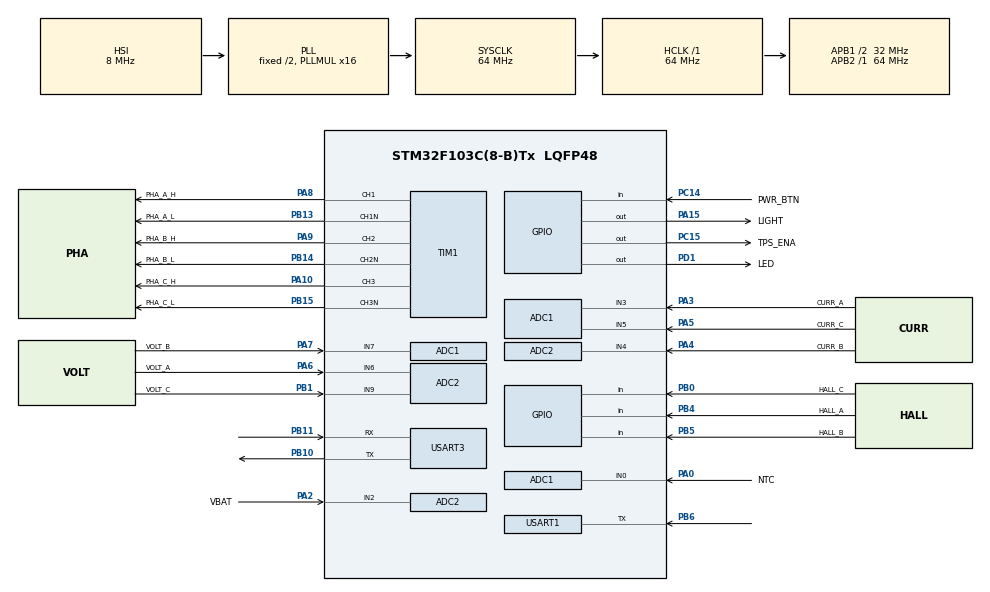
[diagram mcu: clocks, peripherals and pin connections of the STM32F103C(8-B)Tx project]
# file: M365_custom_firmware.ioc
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ADC1.Channel-10\#ChannelRegularConversion=ADC_CHANNEL_3
ADC1.Channel-11\#ChannelRegularConversion=ADC_CHANNEL_5
ADC1.Channel-12\#ChannelRegularConversion=ADC_CHANNEL_7
ADC1.Channel-13\#ChannelRegularConversion=ADC_CHANNEL_0
ADC1.ContinuousConvMode=DISABLE
ADC1.DiscontinuousConvMode=DISABLE
ADC1.EnableAnalogWatchDog=false
ADC1.EnableInjectedConversion=DISABLE
ADC1.EnableRegularConversion=ENABLE
ADC1.ExternalTrigConv=ADC_EXTERNALTRIGCONV_T3_TRGO
ADC1.ExternalTrigInjecConv=ADC_EXTERNALTRIGINJECCONV_T1_TRGO
ADC1.InjNumberOfConversion=4
ADC1.Mode=ADC_DUALMODE_REGSIMULT
ADC1.NbrOfConversion=4
ADC1.NbrOfConversionFlag=1
ADC1.Rank-10\#ChannelRegularConversion=1
ADC1.Rank-11\#ChannelRegularConversion=2
ADC1.Rank-12\#ChannelRegularConversion=3
ADC1.Rank-13\#ChannelRegularConversion=4
ADC1.SamplingTime-10\#ChannelRegularConversion=ADC_SAMPLETIME_1CYCLE_5
ADC1.SamplingTime-11\#ChannelRegularConversion=ADC_SAMPLETIME_1CYCLE_5
ADC1.SamplingTime-12\#ChannelRegularConversion=ADC_SAMPLETIME_1CYCLE_5
ADC1.SamplingTime-13\#ChannelRegularConversion=ADC_SAMPLETIME_1CYCLE_5
ADC1.master=1
ADC2.Channel-6\#ChannelRegularConversion=ADC_CHANNEL_4
ADC2.Channel-7\#ChannelRegularConversion=ADC_CHANNEL_6
ADC2.Channel-8\#ChannelRegularConversion=ADC_CHANNEL_9
ADC2.Channel-9\#ChannelRegularConversion=ADC_CHANNEL_2
ADC2.EnableAnalogWatchDog=false
ADC2.EnableInjectedConversion=DISABLE
ADC2.EnableRegularConversion=ENABLE
ADC2.InjNumberOfConversion=4
ADC2.Mode=ADC_DUALMODE_REGSIMULT
ADC2.NbrOfConversion=4
ADC2.NbrOfConversionFlag=1
ADC2.Rank-6\#ChannelRegularConversion=1
ADC2.Rank-7\#ChannelRegularConversion=2
ADC2.Rank-8\#ChannelRegularConversion=3
ADC2.Rank-9\#ChannelRegularConversion=4
ADC2.SamplingTime-6\#ChannelRegularConversion=ADC_SAMPLETIME_1CYCLE_5
ADC2.SamplingTime-7\#ChannelRegularConversion=ADC_SAMPLETIME_1CYCLE_5
ADC2.SamplingTime-8\#ChannelRegularConversion=ADC_SAMPLETIME_1CYCLE_5
ADC2.SamplingTime-9\#ChannelRegularConversion=ADC_SAMPLETIME_1CYCLE_5
Dma.ADC1.2.Direction=DMA_PERIPH_TO_MEMORY
Dma.ADC1.2.Instance=DMA1_Channel1
Dma.ADC1.2.MemDataAlignment=DMA_MDATAALIGN_HALFWORD
Dma.ADC1.2.MemInc=DMA_MINC_ENABLE
Dma.ADC1.2.Mode=DMA_NORMAL
Dma.ADC1.2.PeriphDataAlignment=DMA_PDATAALIGN_HALFWORD
Dma.ADC1.2.PeriphInc=DMA_PINC_DISABLE
Dma.ADC1.2.Priority=DMA_PRIORITY_LOW
Dma.Request0=USART3_RX
Dma.Request1=USART3_TX
Dma.Request2=ADC1
Dma.Request3=USART1_RX
Dma.USART1_RX.3.Direction=DMA_PERIPH_TO_MEMORY
Dma.USART1_RX.3.Instance=DMA1_Channel5
Dma.USART1_RX.3.MemDataAlignment=DMA_MDATAALIGN_BYTE
Dma.USART1_RX.3.MemInc=DMA_MINC_ENABLE
Dma.USART1_RX.3.Mode=DMA_NORMAL
Dma.USART1_RX.3.PeriphDataAlignment=DMA_PDATAALIGN_BYTE
Dma.USART1_RX.3.PeriphInc=DMA_PINC_DISABLE
Dma.USART1_RX.3.Priority=DMA_PRIORITY_LOW
Dma.USART3_RX.0.Direction=DMA_PERIPH_TO_MEMORY
Dma.USART3_RX.0.Instance=DMA1_Channel3
Dma.USART3_RX.0.MemDataAlignment=DMA_MDATAALIGN_BYTE
Dma.USART3_RX.0.MemInc=DMA_MINC_ENABLE
Dma.USART3_RX.0.Mode=DMA_CIRCULAR
Dma.USART3_RX.0.PeriphDataAlignment=DMA_PDATAALIGN_BYTE
Dma.USART3_RX.0.PeriphInc=DMA_PINC_DISABLE
Dma.USART3_RX.0.Priority=DMA_PRIORITY_LOW
Dma.USART3_TX.1.Direction=DMA_MEMORY_TO_PERIPH
Dma.USART3_TX.1.Instance=DMA1_Channel2
Dma.USART3_TX.1.MemDataAlignment=DMA_MDATAALIGN_BYTE
Dma.USART3_TX.1.MemInc=DMA_MINC_ENABLE
Dma.USART3_TX.1.Mode=DMA_NORMAL
Dma.USART3_TX.1.PeriphDataAlignment=DMA_PDATAALIGN_BYTE
Dma.USART3_TX.1.PeriphInc=DMA_PINC_DISABLE
Dma.USART3_TX.1.Priority=DMA_PRIORITY_LOW
FREERTOS.INCLUDE_uxTaskPriorityGet=0
FREERTOS.INCLUDE_vTaskDelete=0
FREERTOS.INCLUDE_vTaskPrioritySet=0
FREERTOS.INCLUDE_vTaskSuspend=0
FREERTOS.Tasks01=defaultTask,24,128,StartDefaultTask,Default,NULL,Dynamic,NULL,NULL
FREERTOS.configTOTAL_HEAP_SIZE=12000
FREERTOS.configUSE_TRACE_FACILITY=0
Mcu.Family=STM32F1
Mcu.Name=STM32F103C(8-B)Tx
Mcu.Package=LQFP48
NVIC.ADC1_2_IRQn=true\:5\:0\:false\:false\:true\:true\:true\:true
NVIC.DMA1_Channel1_IRQn=true\:5\:0\:false\:false\:false\:true\:false\:false
NVIC.DMA1_Channel2_IRQn=true\:5\:0\:false\:false\:true\:true\:false\:true
NVIC.DMA1_Channel3_IRQn=true\:5\:0\:false\:false\:true\:true\:false\:true
NVIC.DMA1_Channel5_IRQn=true\:5\:0\:false\:false\:true\:true\:false\:true
NVIC.PriorityGroup=NVIC_PRIORITYGROUP_4
NVIC.TIM4_IRQn=true\:0\:0\:false\:false\:true\:false\:false\:true
NVIC.TimeBase=TIM4_IRQn
NVIC.TimeBaseIP=TIM4
NVIC.USART1_IRQn=true\:5\:0\:false\:false\:true\:true\:true\:true
NVIC.USART3_IRQn=true\:5\:0\:false\:false\:true\:true\:true\:true
PA0-WKUP.GPIO_Label=NTC
PA0-WKUP.Signal=ADCx_IN0
PA10.GPIO_Label=PHA_C_H
PA10.Signal=S_TIM1_CH3
PA13.Mode=Serial_Wire
PA13.Signal=SYS_JTMS-SWDIO
PA14.Mode=Serial_Wire
PA14.Signal=SYS_JTCK-SWCLK
PA15.GPIO_Label=LIGHT
PA15.Signal=GPIO_Output
PA2.GPIO_Label=VBAT
PA2.Signal=ADCx_IN2
PA3.GPIO_Label=CURR_A
PA3.Signal=ADCx_IN3
PA4.GPIO_Label=CURR_B
PA4.Signal=ADCx_IN4
PA5.GPIO_Label=CURR_C
PA5.Signal=ADCx_IN5
PA6.GPIO_Label=VOLT_A
PA6.Signal=ADCx_IN6
PA7.GPIO_Label=VOLT_B
PA7.Signal=ADCx_IN7
PA8.GPIO_Label=PHA_A_H
PA8.Signal=S_TIM1_CH1
PA9.GPIO_Label=PHA_B_H
PA9.Signal=S_TIM1_CH2
PB0.GPIO_Label=HALL_C
PB0.Signal=GPIO_Input
PB1.GPIO_Label=VOLT_C
PB1.Signal=ADCx_IN9
PB10.Mode=Asynchronous
PB10.Signal=USART3_TX
PB11.Mode=Asynchronous
PB11.Signal=USART3_RX
PB13.GPIO_Label=PHA_A_L
PB13.Mode=PWM Generation1 CH1 CH1N
PB13.Signal=TIM1_CH1N
PB14.GPIO_Label=PHA_B_L
PB14.Mode=PWM Generation2 CH2 CH2N
PB14.Signal=TIM1_CH2N
PB15.GPIO_Label=PHA_C_L
PB15.Mode=PWM Generation3 CH3 CH3N
PB15.Signal=TIM1_CH3N
PB4.GPIO_Label=HALL_A
PB4.Signal=GPIO_Input
PB5.GPIO_Label=HALL_B
PB5.Signal=GPIO_Input
PB6.Mode=Half_duplex(single_wire_mode)
PB6.Signal=USART1_TX
PC14-OSC32_IN.GPIO_Label=PWR_BTN
PC14-OSC32_IN.Signal=GPIO_Input
PC15-OSC32_OUT.GPIO_Label=TPS_ENA
PC15-OSC32_OUT.PinState=GPIO_PIN_SET
PC15-OSC32_OUT.Signal=GPIO_Output
PD1-OSC_OUT.GPIO_Label=LED
PD1-OSC_OUT.Signal=GPIO_Output
ProjectManager.HeapSize=0x200
ProjectManager.StackSize=0x400
ProjectManager.TargetToolchain=STM32CubeIDE
RCC.ADCPresc=RCC_ADCPCLK2_DIV6
RCC.AHBFreq_Value=64000000
RCC.APB1CLKDivider=RCC_HCLK_DIV2
RCC.APB1Freq_Value=32000000
RCC.APB1TimFreq_Value=64000000
RCC.APB2Freq_Value=64000000
RCC.APB2TimFreq_Value=64000000
RCC.HCLKFreq_Value=64000000
RCC.PLLMUL=RCC_PLL_MUL16
RCC.SYSCLKFreq_VALUE=64000000
RCC.SYSCLKSource=RCC_SYSCLKSOURCE_PLLCLK
RCC.USBFreq_Value=64000000
SH.ADCx_IN0.0=ADC1_IN0,IN0
SH.ADCx_IN2.0=ADC1_IN2
SH.ADCx_IN2.1=ADC2_IN2,IN2
SH.ADCx_IN3.0=ADC1_IN3,IN3
SH.ADCx_IN3.1=ADC2_IN3
SH.ADCx_IN4.0=ADC1_IN4
SH.ADCx_IN4.1=ADC2_IN4,IN4
SH.ADCx_IN5.0=ADC1_IN5,IN5
SH.ADCx_IN6.0=ADC2_IN6,IN6
SH.ADCx_IN7.0=ADC2_IN7
SH.ADCx_IN7.1=ADC1_IN7,IN7
SH.ADCx_IN9.0=ADC2_IN9,IN9
SH.S_TIM1_CH1.0=TIM1_CH1,PWM Generation1 CH1 CH1N
SH.S_TIM1_CH2.0=TIM1_CH2,PWM Generation2 CH2 CH2N
SH.S_TIM1_CH3.0=TIM1_CH3,PWM Generation3 CH3 CH3N
TIM1.Channel-PWM\ Generation1\ CH1\ CH1N=TIM_CHANNEL_1
TIM1.Channel-PWM\ Generation2\ CH2\ CH2N=TIM_CHANNEL_2
TIM1.Channel-PWM\ Generation3\ CH3\ CH3N=TIM_CHANNEL_3
TIM1.CounterMode=TIM_COUNTERMODE_CENTERALIGNED1
TIM1.DeadTime=DEAD_TIME
TIM1.OCIdleState_1=TIM_OCIDLESTATE_SET
TIM1.OCIdleState_2=TIM_OCIDLESTATE_SET
TIM1.OCIdleState_3=TIM_OCIDLESTATE_SET
TIM1.OCNIdleState_1=TIM_OCNIDLESTATE_SET
TIM1.OCNIdleState_2=TIM_OCNIDLESTATE_SET
TIM1.OCNIdleState_3=TIM_OCNIDLESTATE_SET
TIM1.OCNPolarity_1=TIM_OCNPOLARITY_HIGH
TIM1.OCNPolarity_2=TIM_OCNPOLARITY_HIGH
TIM1.OCNPolarity_3=TIM_OCNPOLARITY_HIGH
TIM1.OffStateIDLEMode=TIM_OSSI_ENABLE
TIM1.OffStateRunMode=TIM_OSSR_ENABLE
TIM1.Period=64000000 / 2 / PWM_FREQ
TIM1.TIM_MasterOutputTrigger=TIM_TRGO_ENABLE
TIM1.TIM_MasterSlaveMode=TIM_MASTERSLAVEMODE_DISABLE
TIM3.Period=64000000 / 2 / PWM_FREQ
TIM3.TIM_MasterOutputTrigger=TIM_TRGO_UPDATE
TIM3.TIM_MasterSlaveMode=TIM_MASTERSLAVEMODE_ENABLE
USART1.Mode=MODE_RX
USART1.VirtualMode=VM_ASYNC
USART3.VirtualMode=VM_ASYNC
VP_FREERTOS_VS_CMSIS_V2.Mode=CMSIS_V2
VP_SYS_VS_tim4.Mode=TIM4
VP_TIM1_VS_ClockSourceINT.Mode=Internal
VP_TIM3_VS_ClockSourceINT.Mode=Internal
VP_TIM3_VS_ClockSourceITR.Mode=TriggerSource_ITR0
VP_TIM3_VS_ControllerModeGated.Mode=Gated Mode
board=custom

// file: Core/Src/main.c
/* USER CODE BEGIN Header */
/**
 ******************************************************************************
 * @file           : main.c
 * @brief          : Main program body
 ******************************************************************************
 * @attention
 *
 * <h2><center>&copy; Copyright (c) 2020 STMicroelectronics.
 * All rights reserved.</center></h2>
 *
 * This software component is licensed by ST under BSD 3-Clause license,
 * the "License"; You may not use this file except in compliance with the
 * License. You may obtain a copy of the License at:
 *                        opensource.org/licenses/BSD-3-Clause
 *
 ******************************************************************************
 */
/* USER CODE END Header */
#include "main.h"
#include "cmsis_os.h"

/* USER CODE BEGIN Includes */
#include "tasks/tsk_cli.h"
#include "tasks/tsk_uart.h"
#include "defines.h"
#include "config.h"
#include "cli_common.h"
#include "util.h"
#include "BLDC_controller.h"
#include "rtwtypes.h"
#include "config.h"
#include "stdlib.h"

/* USER CODE END Includes */

/* USER CODE BEGIN PM */

volatile adc_buf_t adc_buffer;

uint8_t led_pattern = LED_OK;
extern ExtY rtY_Left;

/* USER CODE END PM */

ADC_HandleTypeDef hadc1;
ADC_HandleTypeDef hadc2;
DMA_HandleTypeDef hdma_adc1;

TIM_HandleTypeDef htim1;
TIM_HandleTypeDef htim3;

UART_HandleTypeDef huart1;
UART_HandleTypeDef huart3;
DMA_HandleTypeDef hdma_usart1_rx;
DMA_HandleTypeDef hdma_usart3_rx;
DMA_HandleTypeDef hdma_usart3_tx;

/* Definitions for defaultTask */
osThreadId_t defaultTaskHandle;
const osThreadAttr_t defaultTask_attributes = { .name = "defaultTask",
		.priority = (osPriority_t) osPriorityNormal, .stack_size = 128 * 4 };
/* USER CODE BEGIN PV */

extern int16_t cmd1;                    // normalized input value. -1000 to 1000
extern int16_t cmd2;                    // normalized input value. -1000 to 1000
extern int16_t input1;                  // Non normalized input value
extern int16_t input2;                  // Non normalized input value

extern int16_t speedAvg;                // Average measured speed
extern int16_t speedAvgAbs;             // Average measured speed in absolute

/*
 extern uint8_t timeoutFlagADC;          // Timeout Flag for for ADC Protection: 0 = OK, 1 = Problem detected (line disconnected or wrong ADC data)
 extern uint8_t timeoutFlagSerial;       // Timeout Flag for Rx Serial command: 0 = OK, 1 = Problem detected (line disconnected or wrong Rx data)
 */

extern volatile int pwml;         // global variable for pwm left. -1000 to 1000
extern volatile int pwmr;        // global variable for pwm right. -1000 to 1000

extern uint8_t enable;                  // global variable for motor enable

extern int16_t batVoltage;              // global variable for battery voltage

//------------------------------------------------------------------------
// Global variables set here in main.c
//------------------------------------------------------------------------
uint8_t backwardDrive;
volatile uint32_t main_loop_counter;

//------------------------------------------------------------------------
// Local variables
//------------------------------------------------------------------------
static int16_t speed;                // local variable for speed. -1000 to 1000
#ifndef VARIANT_TRANSPOTTER
static int16_t steer;              // local variable for steering. -1000 to 1000
static int16_t steerRateFixdt; // local fixed-point variable for steering rate limiter
static int16_t speedRateFixdt; // local fixed-point variable for speed rate limiter
static int32_t steerFixdt; // local fixed-point variable for steering low-pass filter
static int32_t speedFixdt; // local fixed-point variable for speed low-pass filter
#endif

static uint32_t inactivity_timeout_counter;

uint32_t timeoutCnt = 0;

/* USER CODE END PV */

void SystemClock_Config(void);
static void MX_GPIO_Init(void);
static void MX_DMA_Init(void);
static void MX_ADC1_Init(void);
static void MX_ADC2_Init(void);
static void MX_TIM1_Init(void);
static void MX_USART3_UART_Init(void);
static void MX_TIM3_Init(void);
static void MX_USART1_UART_Init(void);
void StartDefaultTask(void *argument);

int main(void) {
	/* USER CODE BEGIN 1 */

	int16_t speedL = 0, speedR = 0;
	int16_t lastSpeedL = 0, lastSpeedR = 0;

	/*
	 int32_t board_temp_adcFixdt = adc_buffer.temp << 16;  // Fixed-point filter output initialized with current ADC converted to fixed-point
	 int16_t board_temp_adcFilt  = adc_buffer.temp;
	 int16_t board_temp_deg_c;
	 */

	/* USER CODE END 1 */

	/* MCU Configuration--------------------------------------------------------*/

	/* Reset of all peripherals, Initializes the Flash interface and the Systick. */
	HAL_Init();

	/* Configure the system clock */
	SystemClock_Config();

	/* Initialize all configured peripherals */
	MX_GPIO_Init();
	MX_DMA_Init();
	MX_ADC1_Init();
	MX_ADC2_Init();
	MX_TIM1_Init();
	MX_USART3_UART_Init();
	MX_TIM3_Init();
	MX_USART1_UART_Init();
	/* USER CODE BEGIN 2 */

	DBGMCU->CR |= DBGMCU_CR_DBG_TIM1_STOP;

	/* USER CODE END 2 */

	/* Init scheduler */
	osKernelInitialize();

	/* USER CODE BEGIN RTOS_MUTEX */
	/* add mutexes, ... */
	HAL_GPIO_WritePin(TPS_ENA_GPIO_Port, TPS_ENA_Pin, pdTRUE);
	/* USER CODE END RTOS_MUTEX */

	/* Create the thread(s) */
	/* creation of defaultTask */
	defaultTaskHandle = osThreadNew(StartDefaultTask, NULL,
			&defaultTask_attributes);

	/* USER CODE BEGIN RTOS_THREADS */
	/* add threads, ... */

	HAL_GPIO_WritePin(TPS_ENA_GPIO_Port, TPS_ENA_Pin, pdTRUE);

	tsk_cli_Start(&huart3);

	HAL_ADC_Start(&hadc1);
	HAL_ADC_Start(&hadc2);

	HAL_TIM_PWM_Start(&htim1, TIM_CHANNEL_1);
	HAL_TIM_PWM_Start(&htim1, TIM_CHANNEL_2);
	HAL_TIM_PWM_Start(&htim1, TIM_CHANNEL_3);

	HAL_TIMEx_PWMN_Start(&htim1, TIM_CHANNEL_1);
	HAL_TIMEx_PWMN_Start(&htim1, TIM_CHANNEL_2);
	HAL_TIMEx_PWMN_Start(&htim1, TIM_CHANNEL_3);

	htim1.Instance->RCR = 1;

	__HAL_TIM_ENABLE(&htim1);

	htim3.Instance->RCR = 1;

	__HAL_TIM_ENABLE(&htim3);

	hadc1.Instance->CR2 |= ADC_CR2_DMA | ADC_CR2_TSVREFE;
	__HAL_ADC_ENABLE(&hadc1);

	hadc2.Instance->CR2 |= ADC_CR2_DMA;
	__HAL_ADC_ENABLE(&hadc2);

	__HAL_RCC_DMA1_CLK_ENABLE();

	DMA1_Channel1->CCR = 0;
	DMA1_Channel1->CNDTR = 4;
	DMA1_Channel1->CPAR = (uint32_t) &(ADC1->DR);
	DMA1_Channel1->CMAR = (uint32_t) &adc_buffer;
	DMA1_Channel1->CCR = DMA_CCR_MSIZE_1 | DMA_CCR_PSIZE_1 | DMA_CCR_MINC
			| DMA_CCR_CIRC | DMA_CCR_TCIE;
	DMA1_Channel1->CCR |= DMA_CCR_EN;

	HAL_NVIC_SetPriority(DMA1_Channel1_IRQn, 0, 0);
	HAL_NVIC_EnableIRQ(DMA1_Channel1_IRQn);

	/* USER CODE END RTOS_THREADS */

	/* Start scheduler */
	osKernelStart();

	/* We should never get here as control is now taken by the scheduler */
	/* Infinite loop */
	/* USER CODE BEGIN WHILE */
	while (1) {

		HAL_Delay(DELAY_IN_MAIN_LOOP);        //delay in ms

		calcAvgSpeed(); // Calculate average measured speed: speedAvg, speedAvgAbs

#if 0
		readCommand();                        // Read Command: cmd1, cmd2

#ifndef VARIANT_TRANSPOTTER
		// ####### MOTOR ENABLING: Only if the initial input is very small (for SAFETY) #######
		if (enable == 0 && (!rtY_Left.z_errCode) && (cmd1 > -50 && cmd1 < 50)
				&& (cmd2 > -50 && cmd2 < 50)) {
			steerFixdt = speedFixdt = 0;      // reset filters
			enable = 1;                       // enable motors
//			consoleLog("-- Motors enabled --\r\n");
		}

		// ####### VARIANT_HOVERCAR #######
#if defined(VARIANT_HOVERCAR) || defined(VARIANT_SKATEBOARD) || defined(ELECTRIC_BRAKE_ENABLE)
		uint16_t speedBlend; // Calculate speed Blend, a number between [0, 1] in fixdt(0,16,15)
		speedBlend = (uint16_t) (((CLAMP(speedAvgAbs,10,60) - 10) << 15) / 50); // speedBlend [0,1] is within [10 rpm, 60rpm]
#endif

#ifdef STANDSTILL_HOLD_ENABLE
			standstillHold();                                           // Apply Standstill Hold functionality. Only available and makes sense for VOLTAGE or TORQUE Mode
		  #endif

#ifdef VARIANT_HOVERCAR
			if (speedAvgAbs < 60) {                                     // Check if Hovercar is physically close to standstill to enable Double tap detection on Brake pedal for Reverse functionality
			  multipleTapDet(cmd1, HAL_GetTick(), &MultipleTapBrake);   // Brake pedal in this case is "cmd1" variable
			}

			if (cmd1 > 30) {                                            // If Brake pedal (cmd1) is pressed, bring to 0 also the Throttle pedal (cmd2) to avoid "Double pedal" driving
			  cmd2 = (int16_t)((cmd2 * speedBlend) >> 15);
			  cruiseControl((uint8_t)rtP_Left.b_cruiseCtrlEna);         // Cruise control deactivated by Brake pedal if it was active
			}
		  #endif

#ifdef ELECTRIC_BRAKE_ENABLE
		electricBrake(speedBlend, 0); // Apply Electric Brake. Only available and makes sense for TORQUE Mode
#endif

#ifdef VARIANT_HOVERCAR
			if (speedAvg > 0) {                                         // Make sure the Brake pedal is opposite to the direction of motion AND it goes to 0 as we reach standstill (to avoid Reverse driving by Brake pedal)
			  cmd1 = (int16_t)((-cmd1 * speedBlend) >> 15);
			} else {
			  cmd1 = (int16_t)(( cmd1 * speedBlend) >> 15);
			}
		  #endif

		// ####### LOW-PASS FILTER #######
		rateLimiter16(cmd1, RATE, &steerRateFixdt);
		rateLimiter16(cmd2, RATE, &speedRateFixdt);
		filtLowPass32(steerRateFixdt >> 4, FILTER, &steerFixdt);
		filtLowPass32(speedRateFixdt >> 4, FILTER, &speedFixdt);
		steer = (int16_t) (steerFixdt >> 16);  // convert fixed-point to integer
		speed = (int16_t) (speedFixdt >> 16);  // convert fixed-point to integer

		// ####### VARIANT_HOVERCAR #######
#ifdef VARIANT_HOVERCAR
			if (!MultipleTapBrake.b_multipleTap) {  // Check driving direction
			  speed = steer + speed;                // Forward driving: in this case steer = Brake, speed = Throttle
			} else {
			  speed = steer - speed;                // Reverse driving: in this case steer = Brake, speed = Throttle
			}
		  #endif

		// ####### MIXER #######
		// speedR = CLAMP((int)(speed * SPEED_COEFFICIENT -  steer * STEER_COEFFICIENT), INPUT_MIN, INPUT_MA);
		// speedL = CLAMP((int)(speed * SPEED_COEFFICIENT +  steer * STEER_COEFFICIENT), INPUT_MIN, INPUT_MA);
		mixerFcn(speed << 4, steer << 4, &speedR, &speedL); // This function implements the equations above

		// ####### SET OUTPUTS (if the target change is less than +/- 100) #######
		if ((speedL > lastSpeedL - 100 && speedL < lastSpeedL + 100)
				&& (speedR > lastSpeedR - 100 && speedR < lastSpeedR + 100)) {
#ifdef INVERT_R_DIRECTION
			  pwmr = speedR;
			#else
			pwmr = -speedR;
#endif
#ifdef INVERT_L_DIRECTION
			  pwml = -speedL;
			#else
			pwml = speedL;
#endif
		}
#endif

		// ####### SIDEBOARDS HANDLING #######
#if defined(SIDEBOARD_SERIAL_USART2)
		  sideboardLeds(&sideboard_leds_L);
		  sideboardSensors((uint8_t)Sideboard_L.sensors);
		#endif
#if defined(SIDEBOARD_SERIAL_USART3)
		  sideboardLeds(&sideboard_leds_R);
		  sideboardSensors((uint8_t)Sideboard_R.sensors);
		#endif

		// ####### CALC BOARD TEMPERATURE #######
		/*
		 filtLowPass32(adc_buffer.temp, TEMP_FILT_COEF, &board_temp_adcFixdt);
		 board_temp_adcFilt  = (int16_t)(board_temp_adcFixdt >> 16);  // convert fixed-point to integer
		 board_temp_deg_c    = (TEMP_CAL_HIGH_DEG_C - TEMP_CAL_LOW_DEG_C) * (board_temp_adcFilt - TEMP_CAL_LOW_ADC) / (TEMP_CAL_HIGH_ADC - TEMP_CAL_LOW_ADC) + TEMP_CAL_LOW_DEG_C;
		 */

		// ####### DEBUG SERIAL OUT #######
#if defined(DEBUG_SERIAL_USART2) || defined(DEBUG_SERIAL_USART3)
		  if (main_loop_counter % 25 == 0) {    // Send data periodically every 125 ms
			setScopeChannel(0, (int16_t)input1);                    // 1: INPUT1
			setScopeChannel(1, (int16_t)input2);                    // 2: INPUT2
			setScopeChannel(2, (int16_t)speedR);                    // 3: output command: [-1000, 1000]
			setScopeChannel(3, (int16_t)speedL);                    // 4: output command: [-1000, 1000]
			setScopeChannel(4, (int16_t)adc_buffer.batt1);          // 5: for battery voltage calibration
			setScopeChannel(5, (int16_t)(batVoltage * BAT_CALIB_REAL_VOLTAGE / BAT_CALIB_ADC)); // 6: for verifying battery voltage calibration
			setScopeChannel(6, (int16_t)board_temp_adcFilt);        // 7: for board temperature calibration
			setScopeChannel(7, (int16_t)board_temp_deg_c);          // 8: for verifying board temperature calibration
			consoleScope();
		  }
		#endif

		// ####### FEEDBACK SERIAL OUT #######
#if defined(FEEDBACK_SERIAL_USART2) || defined(FEEDBACK_SERIAL_USART3)
		  if (main_loop_counter % 2 == 0) {    // Send data periodically every 10 ms
			Feedback.start	        = (uint16_t)SERIAL_START_FRAME;
			Feedback.cmd1           = (int16_t)cmd1;
			Feedback.cmd2           = (int16_t)cmd2;
			Feedback.speedR_meas	  = (int16_t)rtY_Right.n_mot;
			Feedback.speedL_meas	  = (int16_t)rtY_Left.n_mot;
			Feedback.batVoltage	    = (int16_t)(batVoltage * BAT_CALIB_REAL_VOLTAGE / BAT_CALIB_ADC);
			Feedback.boardTemp	    = (int16_t)board_temp_deg_c;

			#if defined(FEEDBACK_SERIAL_USART2)
			  if(__HAL_DMA_GET_COUNTER(huart2.hdmatx) == 0) {
				Feedback.cmdLed         = (uint16_t)sideboard_leds_L;
				Feedback.checksum       = (uint16_t)(Feedback.start ^ Feedback.cmd1 ^ Feedback.cmd2 ^ Feedback.speedR_meas ^ Feedback.speedL_meas
												   ^ Feedback.batVoltage ^ Feedback.boardTemp ^ Feedback.cmdLed);

				HAL_UART_Transmit_DMA(&huart2, (uint8_t *)&Feedback, sizeof(Feedback));
			  }
			#endif
			#if defined(FEEDBACK_SERIAL_USART3)
			  if(__HAL_DMA_GET_COUNTER(huart3.hdmatx) == 0) {
				Feedback.cmdLed         = (uint16_t)sideboard_leds_R;
				Feedback.checksum       = (uint16_t)(Feedback.start ^ Feedback.cmd1 ^ Feedback.cmd2 ^ Feedback.speedR_meas ^ Feedback.speedL_meas
												   ^ Feedback.batVoltage ^ Feedback.boardTemp ^ Feedback.cmdLed);

				HAL_UART_Transmit_DMA(&huart3, (uint8_t *)&Feedback, sizeof(Feedback));
			  }
			#endif
		  }
		#endif

		// ####### POWEROFF BY POWER-BUTTON #######
		poweroffPressCheck();

		// ####### BEEP AND EMERGENCY POWEROFF #######
		/*
		 if ((TEMP_POWEROFF_ENABLE && board_temp_deg_c >= TEMP_POWEROFF && speedAvgAbs < 20) || (batVoltage < BAT_DEAD && speedAvgAbs < 20)) {  // poweroff before mainboard burns OR low bat 3
		 poweroff();
		 } else if (rtY_Left.z_errCode) {                                           // 1 beep (low pitch): Motor error, disable motors
		 enable = 0;
		 beepCount(1, 24, 1);
		 } else if (timeoutFlagADC) {                                                                      // 2 beeps (low pitch): ADC timeout
		 beepCount(2, 24, 1);
		 } else if (timeoutFlagSerial) {                                                                   // 3 beeps (low pitch): Serial timeout
		 beepCount(3, 24, 1);
		 } else if (timeoutCnt > TIMEOUT) {                                                                // 4 beeps (low pitch): General timeout (PPM, PWM, Nunchuck)
		 beepCount(4, 24, 1);
		 } else if (TEMP_WARNING_ENABLE && board_temp_deg_c >= TEMP_WARNING) {                             // 5 beeps (low pitch): Mainboard temperature warning
		 beepCount(5, 24, 1);
		 } else if (BAT_LVL1_ENABLE && batVoltage < BAT_LVL1) {                                            // 1 beep fast (medium pitch): Low bat 1
		 beepCount(0, 10, 6);
		 } else if (BAT_LVL2_ENABLE && batVoltage < BAT_LVL2) {                                            // 1 beep slow (medium pitch): Low bat 2
		 beepCount(0, 10, 30);
		 } else if (BEEPS_BACKWARD && ((speed < -50 && speedAvg < 0) || MultipleTapBrake.b_multipleTap)) { // 1 beep fast (high pitch): Backward spinning motors
		 beepCount(0, 5, 1);
		 backwardDrive = 1;
		 } else {  // do not beep
		 beepCount(0, 0, 0);
		 backwardDrive = 0;
		 }
		 */

		// ####### INACTIVITY TIMEOUT #######
		if (abs(speedL) > 50 || abs(speedR) > 50) {
			inactivity_timeout_counter = 0;
		} else {
			inactivity_timeout_counter++;
		}
		if (inactivity_timeout_counter
				> (INACTIVITY_TIMEOUT * 60 * 1000) / (DELAY_IN_MAIN_LOOP + 1)) { // rest of main loop needs maybe 1ms
			poweroff();
		}

		// HAL_GPIO_TogglePin(LED_PORT, LED_PIN);                 // This is to measure the main() loop duration with an oscilloscope connected to LED_PIN
		// Update main loop states
		lastSpeedL = speedL;
		lastSpeedR = speedR;
		main_loop_counter++;
		timeoutCnt++;
#endif

		/* USER CODE END WHILE */

	}
}

void SystemClock_Config(void) {
	RCC_OscInitTypeDef RCC_OscInitStruct = { 0 };
	RCC_ClkInitTypeDef RCC_ClkInitStruct = { 0 };
	RCC_PeriphCLKInitTypeDef PeriphClkInit = { 0 };

	/** Initializes the RCC Oscillators according to the specified parameters
	 * in the RCC_OscInitTypeDef structure.
	 */
	RCC_OscInitStruct.OscillatorType = RCC_OSCILLATORTYPE_HSI;
	RCC_OscInitStruct.HSIState = RCC_HSI_ON;
	RCC_OscInitStruct.HSICalibrationValue = RCC_HSICALIBRATION_DEFAULT;
	RCC_OscInitStruct.PLL.PLLState = RCC_PLL_ON;
	RCC_OscInitStruct.PLL.PLLSource = RCC_PLLSOURCE_HSI_DIV2;
	RCC_OscInitStruct.PLL.PLLMUL = RCC_PLL_MUL16;
	if (HAL_RCC_OscConfig(&RCC_OscInitStruct) != HAL_OK) {
		Error_Handler();
	}
	/** Initializes the CPU, AHB and APB buses clocks
	 */
	RCC_ClkInitStruct.ClockType = RCC_CLOCKTYPE_HCLK | RCC_CLOCKTYPE_SYSCLK
			| RCC_CLOCKTYPE_PCLK1 | RCC_CLOCKTYPE_PCLK2;
	RCC_ClkInitStruct.SYSCLKSource = RCC_SYSCLKSOURCE_PLLCLK;
	RCC_ClkInitStruct.AHBCLKDivider = RCC_SYSCLK_DIV1;
	RCC_ClkInitStruct.APB1CLKDivider = RCC_HCLK_DIV2;
	RCC_ClkInitStruct.APB2CLKDivider = RCC_HCLK_DIV1;

	if (HAL_RCC_ClockConfig(&RCC_ClkInitStruct, FLASH_LATENCY_2) != HAL_OK) {
		Error_Handler();
	}
	PeriphClkInit.PeriphClockSelection = RCC_PERIPHCLK_ADC;
	PeriphClkInit.AdcClockSelection = RCC_ADCPCLK2_DIV6;
	if (HAL_RCCEx_PeriphCLKConfig(&PeriphClkInit) != HAL_OK) {
		Error_Handler();
	}
}

static void MX_ADC1_Init(void) {

	ADC_MultiModeTypeDef multimode = { 0 };
	ADC_ChannelConfTypeDef sConfig = { 0 };

	/** Common config
	 */
	hadc1.Instance = ADC1;
	hadc1.Init.ScanConvMode = ADC_SCAN_ENABLE;
	hadc1.Init.ContinuousConvMode = DISABLE;
	hadc1.Init.DiscontinuousConvMode = DISABLE;
	hadc1.Init.ExternalTrigConv = ADC_EXTERNALTRIGCONV_T3_TRGO;
	hadc1.Init.DataAlign = ADC_DATAALIGN_RIGHT;
	hadc1.Init.NbrOfConversion = 4;
	if (HAL_ADC_Init(&hadc1) != HAL_OK) {
		Error_Handler();
	}
	/** Configure the ADC multi-mode
	 */
	multimode.Mode = ADC_DUALMODE_REGSIMULT;
	if (HAL_ADCEx_MultiModeConfigChannel(&hadc1, &multimode) != HAL_OK) {
		Error_Handler();
	}
	/** Configure Regular Channel
	 */
	sConfig.Channel = ADC_CHANNEL_3;
	sConfig.Rank = ADC_REGULAR_RANK_1;
	sConfig.SamplingTime = ADC_SAMPLETIME_1CYCLE_5;
	if (HAL_ADC_ConfigChannel(&hadc1, &sConfig) != HAL_OK) {
		Error_Handler();
	}
	/** Configure Regular Channel
	 */
	sConfig.Channel = ADC_CHANNEL_5;
	sConfig.Rank = ADC_REGULAR_RANK_2;
	if (HAL_ADC_ConfigChannel(&hadc1, &sConfig) != HAL_OK) {
		Error_Handler();
	}
	/** Configure Regular Channel
	 */
	sConfig.Channel = ADC_CHANNEL_7;
	sConfig.Rank = ADC_REGULAR_RANK_3;
	if (HAL_ADC_ConfigChannel(&hadc1, &sConfig) != HAL_OK) {
		Error_Handler();
	}
	/** Configure Regular Channel
	 */
	sConfig.Channel = ADC_CHANNEL_0;
	sConfig.Rank = ADC_REGULAR_RANK_4;
	if (HAL_ADC_ConfigChannel(&hadc1, &sConfig) != HAL_OK) {
		Error_Handler();
	}

}

static void MX_ADC2_Init(void) {

	ADC_ChannelConfTypeDef sConfig = { 0 };

	/** Common config
	 */
	hadc2.Instance = ADC2;
	hadc2.Init.ScanConvMode = ADC_SCAN_ENABLE;
	hadc2.Init.ContinuousConvMode = DISABLE;
	hadc2.Init.DiscontinuousConvMode = DISABLE;
	hadc2.Init.ExternalTrigConv = ADC_SOFTWARE_START;
	hadc2.Init.DataAlign = ADC_DATAALIGN_RIGHT;
	hadc2.Init.NbrOfConversion = 4;
	if (HAL_ADC_Init(&hadc2) != HAL_OK) {
		Error_Handler();
	}
	/** Configure Regular Channel
	 */
	sConfig.Channel = ADC_CHANNEL_4;
	sConfig.Rank = ADC_REGULAR_RANK_1;
	sConfig.SamplingTime = ADC_SAMPLETIME_1CYCLE_5;
	if (HAL_ADC_ConfigChannel(&hadc2, &sConfig) != HAL_OK) {
		Error_Handler();
	}
	/** Configure Regular Channel
	 */
	sConfig.Channel = ADC_CHANNEL_6;
	sConfig.Rank = ADC_REGULAR_RANK_2;
	if (HAL_ADC_ConfigChannel(&hadc2, &sConfig) != HAL_OK) {
		Error_Handler();
	}
	/** Configure Regular Channel
	 */
	sConfig.Channel = ADC_CHANNEL_9;
	sConfig.Rank = ADC_REGULAR_RANK_3;
	if (HAL_ADC_ConfigChannel(&hadc2, &sConfig) != HAL_OK) {
		Error_Handler();
	}
	/** Configure Regular Channel
	 */
	sConfig.Channel = ADC_CHANNEL_2;
	sConfig.Rank = ADC_REGULAR_RANK_4;
	if (HAL_ADC_ConfigChannel(&hadc2, &sConfig) != HAL_OK) {
		Error_Handler();
	}

}

static void MX_TIM1_Init(void) {

	TIM_ClockConfigTypeDef sClockSourceConfig = { 0 };
	TIM_MasterConfigTypeDef sMasterConfig = { 0 };
	TIM_OC_InitTypeDef sConfigOC = { 0 };
	TIM_BreakDeadTimeConfigTypeDef sBreakDeadTimeConfig = { 0 };

	htim1.Instance = TIM1;
	htim1.Init.Prescaler = 0;
	htim1.Init.CounterMode = TIM_COUNTERMODE_CENTERALIGNED1;
	htim1.Init.Period = 64000000 / 2 / PWM_FREQ;
	htim1.Init.ClockDivision = TIM_CLOCKDIVISION_DIV1;
	htim1.Init.RepetitionCounter = 0;
	htim1.Init.AutoReloadPreload = TIM_AUTORELOAD_PRELOAD_DISABLE;
	if (HAL_TIM_Base_Init(&htim1) != HAL_OK) {
		Error_Handler();
	}
	sClockSourceConfig.ClockSource = TIM_CLOCKSOURCE_INTERNAL;
	if (HAL_TIM_ConfigClockSource(&htim1, &sClockSourceConfig) != HAL_OK) {
		Error_Handler();
	}
	if (HAL_TIM_PWM_Init(&htim1) != HAL_OK) {
		Error_Handler();
	}
	sMasterConfig.MasterOutputTrigger = TIM_TRGO_ENABLE;
	sMasterConfig.MasterSlaveMode = TIM_MASTERSLAVEMODE_DISABLE;
	if (HAL_TIMEx_MasterConfigSynchronization(&htim1, &sMasterConfig)
			!= HAL_OK) {
		Error_Handler();
	}
	sConfigOC.OCMode = TIM_OCMODE_PWM1;
	sConfigOC.Pulse = 0;
	sConfigOC.OCPolarity = TIM_OCPOLARITY_HIGH;
	sConfigOC.OCNPolarity = TIM_OCNPOLARITY_HIGH;
	sConfigOC.OCFastMode = TIM_OCFAST_DISABLE;
	sConfigOC.OCIdleState = TIM_OCIDLESTATE_SET;
	sConfigOC.OCNIdleState = TIM_OCNIDLESTATE_SET;
	if (HAL_TIM_PWM_ConfigChannel(&htim1, &sConfigOC, TIM_CHANNEL_1)
			!= HAL_OK) {
		Error_Handler();
	}
	if (HAL_TIM_PWM_ConfigChannel(&htim1, &sConfigOC, TIM_CHANNEL_2)
			!= HAL_OK) {
		Error_Handler();
	}
	if (HAL_TIM_PWM_ConfigChannel(&htim1, &sConfigOC, TIM_CHANNEL_3)
			!= HAL_OK) {
		Error_Handler();
	}
	sBreakDeadTimeConfig.OffStateRunMode = TIM_OSSR_ENABLE;
	sBreakDeadTimeConfig.OffStateIDLEMode = TIM_OSSI_ENABLE;
	sBreakDeadTimeConfig.LockLevel = TIM_LOCKLEVEL_OFF;
	sBreakDeadTimeConfig.DeadTime = DEAD_TIME;
	sBreakDeadTimeConfig.BreakState = TIM_BREAK_DISABLE;
	sBreakDeadTimeConfig.BreakPolarity = TIM_BREAKPOLARITY_HIGH;
	sBreakDeadTimeConfig.AutomaticOutput = TIM_AUTOMATICOUTPUT_DISABLE;
	if (HAL_TIMEx_ConfigBreakDeadTime(&htim1, &sBreakDeadTimeConfig)
			!= HAL_OK) {
		Error_Handler();
	}
	HAL_TIM_MspPostInit(&htim1);

}

static void MX_TIM3_Init(void) {

	TIM_ClockConfigTypeDef sClockSourceConfig = { 0 };
	TIM_SlaveConfigTypeDef sSlaveConfig = { 0 };
	TIM_MasterConfigTypeDef sMasterConfig = { 0 };

	htim3.Instance = TIM3;
	htim3.Init.Prescaler = 0;
	htim3.Init.CounterMode = TIM_COUNTERMODE_UP;
	htim3.Init.Period = 64000000 / 2 / PWM_FREQ;
	htim3.Init.ClockDivision = TIM_CLOCKDIVISION_DIV1;
	htim3.Init.AutoReloadPreload = TIM_AUTORELOAD_PRELOAD_DISABLE;
	if (HAL_TIM_Base_Init(&htim3) != HAL_OK) {
		Error_Handler();
	}
	sClockSourceConfig.ClockSource = TIM_CLOCKSOURCE_INTERNAL;
	if (HAL_TIM_ConfigClockSource(&htim3, &sClockSourceConfig) != HAL_OK) {
		Error_Handler();
	}
	sSlaveConfig.SlaveMode = TIM_SLAVEMODE_GATED;
	sSlaveConfig.InputTrigger = TIM_TS_ITR0;
	if (HAL_TIM_SlaveConfigSynchro(&htim3, &sSlaveConfig) != HAL_OK) {
		Error_Handler();
	}
	sMasterConfig.MasterOutputTrigger = TIM_TRGO_UPDATE;
	sMasterConfig.MasterSlaveMode = TIM_MASTERSLAVEMODE_ENABLE;
	if (HAL_TIMEx_MasterConfigSynchronization(&htim3, &sMasterConfig)
			!= HAL_OK) {
		Error_Handler();
	}

}

static void MX_USART1_UART_Init(void) {

	huart1.Instance = USART1;
	huart1.Init.BaudRate = 115200;
	huart1.Init.WordLength = UART_WORDLENGTH_8B;
	huart1.Init.StopBits = UART_STOPBITS_1;
	huart1.Init.Parity = UART_PARITY_NONE;
	huart1.Init.Mode = UART_MODE_RX;
	huart1.Init.HwFlowCtl = UART_HWCONTROL_NONE;
	huart1.Init.OverSampling = UART_OVERSAMPLING_16;
	if (HAL_HalfDuplex_Init(&huart1) != HAL_OK) {
		Error_Handler();
	}

}

static void MX_USART3_UART_Init(void) {

	huart3.Instance = USART3;
	huart3.Init.BaudRate = 115200;
	huart3.Init.WordLength = UART_WORDLENGTH_8B;
	huart3.Init.StopBits = UART_STOPBITS_1;
	huart3.Init.Parity = UART_PARITY_NONE;
	huart3.Init.Mode = UART_MODE_TX_RX;
	huart3.Init.HwFlowCtl = UART_HWCONTROL_NONE;
	huart3.Init.OverSampling = UART_OVERSAMPLING_16;
	if (HAL_UART_Init(&huart3) != HAL_OK) {
		Error_Handler();
	}

}

static void MX_DMA_Init(void) {

	/* DMA controller clock enable */
	__HAL_RCC_DMA1_CLK_ENABLE();

	/* DMA interrupt init */
	/* DMA1_Channel1_IRQn interrupt configuration */
	HAL_NVIC_SetPriority(DMA1_Channel1_IRQn, 5, 0);
	HAL_NVIC_EnableIRQ(DMA1_Channel1_IRQn);
	/* DMA1_Channel2_IRQn interrupt configuration */
	HAL_NVIC_SetPriority(DMA1_Channel2_IRQn, 5, 0);
	HAL_NVIC_EnableIRQ(DMA1_Channel2_IRQn);
	/* DMA1_Channel3_IRQn interrupt configuration */
	HAL_NVIC_SetPriority(DMA1_Channel3_IRQn, 5, 0);
	HAL_NVIC_EnableIRQ(DMA1_Channel3_IRQn);

}

static void MX_GPIO_Init(void) {
	GPIO_InitTypeDef GPIO_InitStruct = { 0 };

	/* GPIO Ports Clock Enable */
	__HAL_RCC_GPIOC_CLK_ENABLE();
	__HAL_RCC_GPIOD_CLK_ENABLE();
	__HAL_RCC_GPIOA_CLK_ENABLE();
	__HAL_RCC_GPIOB_CLK_ENABLE();

	/*Configure GPIO pin Output Level */
	HAL_GPIO_WritePin(TPS_ENA_GPIO_Port, TPS_ENA_Pin, GPIO_PIN_SET);

	/*Configure GPIO pin Output Level */
	HAL_GPIO_WritePin(LED_GPIO_Port, LED_Pin, GPIO_PIN_RESET);

	/*Configure GPIO pin Output Level */
	HAL_GPIO_WritePin(LIGHT_GPIO_Port, LIGHT_Pin, GPIO_PIN_RESET);

	/*Configure GPIO pin : PWR_BTN_Pin */
	GPIO_InitStruct.Pin = PWR_BTN_Pin;
	GPIO_InitStruct.Mode = GPIO_MODE_INPUT;
	GPIO_InitStruct.Pull = GPIO_NOPULL;
	HAL_GPIO_Init(PWR_BTN_GPIO_Port, &GPIO_InitStruct);

	/*Configure GPIO pin : TPS_ENA_Pin */
	GPIO_InitStruct.Pin = TPS_ENA_Pin;
	GPIO_InitStruct.Mode = GPIO_MODE_OUTPUT_PP;
	GPIO_InitStruct.Pull = GPIO_NOPULL;
	GPIO_InitStruct.Speed = GPIO_SPEED_FREQ_LOW;
	HAL_GPIO_Init(TPS_ENA_GPIO_Port, &GPIO_InitStruct);

	/*Configure GPIO pin : LED_Pin */
	GPIO_InitStruct.Pin = LED_Pin;
	GPIO_InitStruct.Mode = GPIO_MODE_OUTPUT_PP;
	GPIO_InitStruct.Pull = GPIO_NOPULL;
	GPIO_InitStruct.Speed = GPIO_SPEED_FREQ_LOW;
	HAL_GPIO_Init(LED_GPIO_Port, &GPIO_InitStruct);

	/*Configure GPIO pins : HALL_C_Pin HALL_A_Pin HALL_B_Pin */
	GPIO_InitStruct.Pin = HALL_C_Pin | HALL_A_Pin | HALL_B_Pin;
	GPIO_InitStruct.Mode = GPIO_MODE_INPUT;
	GPIO_InitStruct.Pull = GPIO_NOPULL;
	HAL_GPIO_Init(GPIOB, &GPIO_InitStruct);

	/*Configure GPIO pin : LIGHT_Pin */
	GPIO_InitStruct.Pin = LIGHT_Pin;
	GPIO_InitStruct.Mode = GPIO_MODE_OUTPUT_PP;
	GPIO_InitStruct.Pull = GPIO_NOPULL;
	GPIO_InitStruct.Speed = GPIO_SPEED_FREQ_LOW;
	HAL_GPIO_Init(LIGHT_GPIO_Port, &GPIO_InitStruct);

	/*Configure peripheral I/O remapping */
	__HAL_AFIO_REMAP_PD01_ENABLE();

}

void StartDefaultTask(void *argument) {
	/* USER CODE BEGIN 5 */
	/* Infinite loop */
	for (;;) {
		if (rtY_Left.z_errCode)
			led_pattern = LED_MOTOR_ERROR;
		for (uint8_t i = 0; i < led_pattern; i++) {
			HAL_GPIO_WritePin(LED_GPIO_Port, LED_Pin, pdFALSE);
			vTaskDelay(200 / portTICK_PERIOD_MS);
			HAL_GPIO_WritePin(LED_GPIO_Port, LED_Pin, pdTRUE);
		}
		vTaskDelay(1000 / portTICK_PERIOD_MS);
	}

	/* USER CODE END 5 */
}

void HAL_TIM_PeriodElapsedCallback(TIM_HandleTypeDef *htim) {
	if (htim->Instance == TIM4) {
		HAL_IncTick();
	}
}

void Error_Handler(void) {
}

/************************ (C) COPYRIGHT STMicroelectronics *****END OF FILE****/
